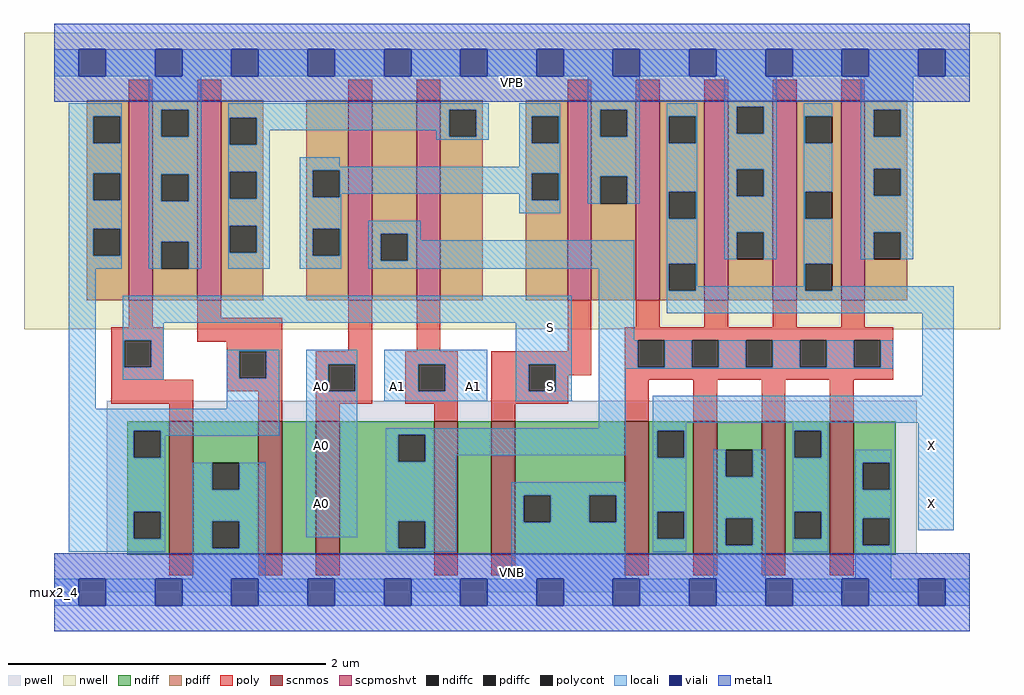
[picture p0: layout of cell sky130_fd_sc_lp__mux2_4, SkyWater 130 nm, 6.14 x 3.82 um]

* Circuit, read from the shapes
.subckt sky130_fd_sc_lp__mux2_4 A0 A1 S VGND VNB VPB VPWR X
XM1 VGND S n1 VNB sky130_fd_pr__nfet_01v8 w=0.84 l=0.15
XM2 n2 n1 VGND VNB sky130_fd_pr__nfet_01v8 w=0.84 l=0.15
XM3 n3 A0 n2 VNB sky130_fd_pr__nfet_01v8 w=0.84 l=0.15
XM4 n4 A1 n3 VNB sky130_fd_pr__nfet_01v8 w=0.84 l=0.15
XM5 VGND S n4 VNB sky130_fd_pr__nfet_01v8 w=0.84 l=0.15
XM6 X n3 VGND VNB sky130_fd_pr__nfet_01v8 w=0.84 l=0.15 m=4
XM7 VPWR S n1 VPB sky130_fd_pr__pfet_01v8_hvt w=1.26 l=0.15
XM8 n5 n1 VPWR VPB sky130_fd_pr__pfet_01v8_hvt w=1.26 l=0.15
XM9 n3 A0 n6 VPB sky130_fd_pr__pfet_01v8_hvt w=1.26 l=0.15
XM10 n5 A1 n3 VPB sky130_fd_pr__pfet_01v8_hvt w=1.26 l=0.15
XM11 VPWR S n6 VPB sky130_fd_pr__pfet_01v8_hvt w=1.26 l=0.15
XM12 X n3 VPWR VPB sky130_fd_pr__pfet_01v8_hvt w=1.26 l=0.15 m=4
.ends

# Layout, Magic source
magic
tech sky130A
magscale 1 2
<< nwell >>
rect -38 331 1190 704
<< pwell >>
rect 66 49 1085 241
rect 0 0 1152 49
<< scnmos >>
rect 145 47 175 215
rect 257 47 287 215
rect 329 47 359 215
rect 478 47 508 215
rect 550 47 580 215
rect 718 47 748 215
rect 804 47 834 215
rect 890 47 920 215
rect 976 47 1006 215
<< scpmoshvt >>
rect 94 367 124 619
rect 180 367 210 619
rect 370 367 400 619
rect 456 367 486 619
rect 646 367 676 619
rect 732 367 762 619
rect 818 367 848 619
rect 904 367 934 619
rect 990 367 1020 619
<< ndiff >>
rect 92 203 145 215
rect 92 169 100 203
rect 134 169 145 203
rect 92 101 145 169
rect 92 67 100 101
rect 134 67 145 101
rect 92 47 145 67
rect 175 163 257 215
rect 175 129 199 163
rect 233 129 257 163
rect 175 89 257 129
rect 175 55 199 89
rect 233 55 257 89
rect 175 47 257 55
rect 287 47 329 215
rect 359 198 478 215
rect 359 164 433 198
rect 467 164 478 198
rect 359 89 478 164
rect 359 55 433 89
rect 467 55 478 89
rect 359 47 478 55
rect 508 47 550 215
rect 580 122 718 215
rect 580 88 591 122
rect 625 88 673 122
rect 707 88 718 122
rect 580 47 718 88
rect 748 203 804 215
rect 748 169 759 203
rect 793 169 804 203
rect 748 101 804 169
rect 748 67 759 101
rect 793 67 804 101
rect 748 47 804 67
rect 834 179 890 215
rect 834 145 845 179
rect 879 145 890 179
rect 834 93 890 145
rect 834 59 845 93
rect 879 59 890 93
rect 834 47 890 59
rect 920 203 976 215
rect 920 169 931 203
rect 965 169 976 203
rect 920 101 976 169
rect 920 67 931 101
rect 965 67 976 101
rect 920 47 976 67
rect 1006 163 1059 215
rect 1006 129 1017 163
rect 1051 129 1059 163
rect 1006 93 1059 129
rect 1006 59 1017 93
rect 1051 59 1059 93
rect 1006 47 1059 59
<< pdiff >>
rect 41 599 94 619
rect 41 565 49 599
rect 83 565 94 599
rect 41 527 94 565
rect 41 493 49 527
rect 83 493 94 527
rect 41 457 94 493
rect 41 423 49 457
rect 83 423 94 457
rect 41 367 94 423
rect 124 607 180 619
rect 124 573 135 607
rect 169 573 180 607
rect 124 526 180 573
rect 124 492 135 526
rect 169 492 180 526
rect 124 441 180 492
rect 124 407 135 441
rect 169 407 180 441
rect 124 367 180 407
rect 210 597 263 619
rect 210 563 221 597
rect 255 563 263 597
rect 210 529 263 563
rect 210 495 221 529
rect 255 495 263 529
rect 210 461 263 495
rect 210 427 221 461
rect 255 427 263 461
rect 210 367 263 427
rect 317 531 370 619
rect 317 497 325 531
rect 359 497 370 531
rect 317 457 370 497
rect 317 423 325 457
rect 359 423 370 457
rect 317 367 370 423
rect 400 451 456 619
rect 400 417 411 451
rect 445 417 456 451
rect 400 367 456 417
rect 486 607 539 619
rect 486 573 497 607
rect 531 573 539 607
rect 486 367 539 573
rect 593 599 646 619
rect 593 565 601 599
rect 635 565 646 599
rect 593 527 646 565
rect 593 493 601 527
rect 635 493 646 527
rect 593 367 646 493
rect 676 607 732 619
rect 676 573 687 607
rect 721 573 732 607
rect 676 523 732 573
rect 676 489 687 523
rect 721 489 732 523
rect 676 367 732 489
rect 762 599 818 619
rect 762 565 773 599
rect 807 565 818 599
rect 762 504 818 565
rect 762 470 773 504
rect 807 470 818 504
rect 762 413 818 470
rect 762 379 773 413
rect 807 379 818 413
rect 762 367 818 379
rect 848 611 904 619
rect 848 577 859 611
rect 893 577 904 611
rect 848 532 904 577
rect 848 498 859 532
rect 893 498 904 532
rect 848 453 904 498
rect 848 419 859 453
rect 893 419 904 453
rect 848 367 904 419
rect 934 599 990 619
rect 934 565 945 599
rect 979 565 990 599
rect 934 504 990 565
rect 934 470 945 504
rect 979 470 990 504
rect 934 413 990 470
rect 934 379 945 413
rect 979 379 990 413
rect 934 367 990 379
rect 1020 607 1073 619
rect 1020 573 1031 607
rect 1065 573 1073 607
rect 1020 533 1073 573
rect 1020 499 1031 533
rect 1065 499 1073 533
rect 1020 453 1073 499
rect 1020 419 1031 453
rect 1065 419 1073 453
rect 1020 367 1073 419
<< ndiffc >>
rect 100 169 134 203
rect 100 67 134 101
rect 199 129 233 163
rect 199 55 233 89
rect 433 164 467 198
rect 433 55 467 89
rect 591 88 625 122
rect 673 88 707 122
rect 759 169 793 203
rect 759 67 793 101
rect 845 145 879 179
rect 845 59 879 93
rect 931 169 965 203
rect 931 67 965 101
rect 1017 129 1051 163
rect 1017 59 1051 93
<< pdiffc >>
rect 49 565 83 599
rect 49 493 83 527
rect 49 423 83 457
rect 135 573 169 607
rect 135 492 169 526
rect 135 407 169 441
rect 221 563 255 597
rect 221 495 255 529
rect 221 427 255 461
rect 325 497 359 531
rect 325 423 359 457
rect 411 417 445 451
rect 497 573 531 607
rect 601 565 635 599
rect 601 493 635 527
rect 687 573 721 607
rect 687 489 721 523
rect 773 565 807 599
rect 773 470 807 504
rect 773 379 807 413
rect 859 577 893 611
rect 859 498 893 532
rect 859 419 893 453
rect 945 565 979 599
rect 945 470 979 504
rect 945 379 979 413
rect 1031 573 1065 607
rect 1031 499 1065 533
rect 1031 419 1065 453
<< poly >>
rect 94 619 124 645
rect 180 619 210 645
rect 370 619 400 645
rect 456 619 486 645
rect 646 619 676 645
rect 732 619 762 645
rect 818 619 848 645
rect 904 619 934 645
rect 990 619 1020 645
rect 94 333 124 367
rect 180 345 210 367
rect 72 317 138 333
rect 72 283 88 317
rect 122 283 138 317
rect 180 315 287 345
rect 72 267 138 283
rect 217 303 287 315
rect 370 303 400 367
rect 456 303 486 367
rect 646 303 676 367
rect 732 333 762 367
rect 818 333 848 367
rect 904 333 934 367
rect 990 333 1020 367
rect 217 269 233 303
rect 267 269 287 303
rect 72 237 175 267
rect 217 253 287 269
rect 145 215 175 237
rect 257 215 287 253
rect 329 287 400 303
rect 329 253 345 287
rect 379 253 400 287
rect 329 237 400 253
rect 442 287 508 303
rect 442 253 458 287
rect 492 253 508 287
rect 442 237 508 253
rect 329 215 359 237
rect 478 215 508 237
rect 550 287 676 303
rect 550 253 597 287
rect 631 273 676 287
rect 718 317 1056 333
rect 718 283 734 317
rect 768 283 802 317
rect 836 283 870 317
rect 904 283 938 317
rect 972 283 1006 317
rect 1040 283 1056 317
rect 631 253 647 273
rect 550 237 647 253
rect 718 267 1056 283
rect 550 215 580 237
rect 718 215 748 267
rect 804 215 834 267
rect 890 215 920 267
rect 976 215 1006 267
rect 145 21 175 47
rect 257 21 287 47
rect 329 21 359 47
rect 478 21 508 47
rect 550 21 580 47
rect 718 21 748 47
rect 804 21 834 47
rect 890 21 920 47
rect 976 21 1006 47
<< polycont >>
rect 88 283 122 317
rect 233 269 267 303
rect 345 253 379 287
rect 458 253 492 287
rect 597 253 631 287
rect 734 283 768 317
rect 802 283 836 317
rect 870 283 904 317
rect 938 283 972 317
rect 1006 283 1040 317
<< locali >>
rect 0 649 31 683
rect 65 649 127 683
rect 161 649 223 683
rect 257 649 319 683
rect 353 649 415 683
rect 449 649 511 683
rect 545 649 607 683
rect 641 649 703 683
rect 737 649 799 683
rect 833 649 895 683
rect 929 649 991 683
rect 1025 649 1087 683
rect 1121 649 1152 683
rect 18 599 85 615
rect 18 565 49 599
rect 83 565 85 599
rect 18 527 85 565
rect 18 493 49 527
rect 83 493 85 527
rect 18 457 85 493
rect 18 423 49 457
rect 83 423 85 457
rect 18 407 85 423
rect 119 607 185 649
rect 119 573 135 607
rect 169 573 185 607
rect 119 526 185 573
rect 119 492 135 526
rect 169 492 185 526
rect 119 441 185 492
rect 119 407 135 441
rect 169 407 185 441
rect 219 607 547 615
rect 219 597 497 607
rect 219 563 221 597
rect 255 581 497 597
rect 255 563 271 581
rect 481 573 497 581
rect 531 573 547 607
rect 481 569 547 573
rect 585 599 637 615
rect 219 529 271 563
rect 585 565 601 599
rect 635 565 637 599
rect 219 495 221 529
rect 255 495 271 529
rect 219 461 271 495
rect 219 427 221 461
rect 255 427 271 461
rect 219 407 271 427
rect 309 535 359 547
rect 585 535 637 565
rect 309 531 637 535
rect 309 497 325 531
rect 359 527 637 531
rect 359 501 601 527
rect 359 497 361 501
rect 309 457 361 497
rect 585 493 601 501
rect 635 493 637 527
rect 585 477 637 493
rect 671 607 737 649
rect 671 573 687 607
rect 721 573 737 607
rect 671 523 737 573
rect 671 489 687 523
rect 721 489 737 523
rect 771 599 809 615
rect 771 565 773 599
rect 807 565 809 599
rect 771 504 809 565
rect 771 470 773 504
rect 807 470 809 504
rect 309 423 325 457
rect 359 423 361 457
rect 309 407 361 423
rect 395 451 461 467
rect 395 417 411 451
rect 445 443 461 451
rect 445 417 730 443
rect 395 407 730 417
rect 18 231 52 407
rect 86 339 651 373
rect 86 317 138 339
rect 86 283 88 317
rect 122 283 138 317
rect 86 267 138 283
rect 217 303 283 305
rect 217 269 233 303
rect 267 269 283 303
rect 217 231 283 269
rect 18 203 283 231
rect 18 169 100 203
rect 134 197 283 203
rect 317 287 381 305
rect 317 253 345 287
rect 379 253 381 287
rect 134 169 140 197
rect 18 101 140 169
rect 18 67 100 101
rect 134 67 140 101
rect 18 51 140 67
rect 174 129 199 163
rect 233 129 266 163
rect 174 89 266 129
rect 174 55 199 89
rect 233 55 266 89
rect 317 69 381 253
rect 415 287 545 305
rect 415 253 458 287
rect 492 253 545 287
rect 415 240 545 253
rect 581 287 651 339
rect 581 253 597 287
rect 631 253 651 287
rect 581 240 651 253
rect 685 317 730 407
rect 771 413 809 470
rect 843 611 909 649
rect 843 577 859 611
rect 893 577 909 611
rect 843 532 909 577
rect 843 498 859 532
rect 893 498 909 532
rect 843 453 909 498
rect 843 419 859 453
rect 893 419 909 453
rect 943 599 979 615
rect 943 565 945 599
rect 943 504 979 565
rect 943 470 945 504
rect 771 379 773 413
rect 807 385 809 413
rect 943 413 979 470
rect 1015 607 1081 649
rect 1015 573 1031 607
rect 1065 573 1081 607
rect 1015 533 1081 573
rect 1015 499 1031 533
rect 1065 499 1081 533
rect 1015 453 1081 499
rect 1015 419 1031 453
rect 1065 419 1081 453
rect 943 385 945 413
rect 807 379 945 385
rect 979 379 1132 385
rect 771 351 1132 379
rect 685 283 734 317
rect 768 283 802 317
rect 836 283 870 317
rect 904 283 938 317
rect 972 283 1006 317
rect 1040 283 1056 317
rect 685 281 1056 283
rect 685 206 719 281
rect 1092 247 1132 351
rect 417 198 719 206
rect 417 164 433 198
rect 467 172 719 198
rect 753 213 1132 247
rect 753 203 795 213
rect 467 164 506 172
rect 417 89 506 164
rect 753 169 759 203
rect 793 169 795 203
rect 929 203 974 213
rect 174 17 266 55
rect 417 55 433 89
rect 467 55 506 89
rect 417 51 506 55
rect 575 122 719 138
rect 575 88 591 122
rect 625 88 673 122
rect 707 88 719 122
rect 575 17 719 88
rect 753 101 795 169
rect 753 67 759 101
rect 793 67 795 101
rect 753 51 795 67
rect 829 145 845 179
rect 879 145 895 179
rect 829 93 895 145
rect 829 59 845 93
rect 879 59 895 93
rect 829 17 895 59
rect 929 169 931 203
rect 965 169 974 203
rect 929 101 974 169
rect 929 67 931 101
rect 965 67 974 101
rect 929 51 974 67
rect 1008 163 1053 179
rect 1008 129 1017 163
rect 1051 129 1053 163
rect 1008 93 1053 129
rect 1008 59 1017 93
rect 1051 59 1053 93
rect 1087 78 1132 213
rect 1008 17 1053 59
rect 0 -17 31 17
rect 65 -17 127 17
rect 161 -17 223 17
rect 257 -17 319 17
rect 353 -17 415 17
rect 449 -17 511 17
rect 545 -17 607 17
rect 641 -17 703 17
rect 737 -17 799 17
rect 833 -17 895 17
rect 929 -17 991 17
rect 1025 -17 1087 17
rect 1121 -17 1152 17
<< viali >>
rect 31 649 65 683
rect 127 649 161 683
rect 223 649 257 683
rect 319 649 353 683
rect 415 649 449 683
rect 511 649 545 683
rect 607 649 641 683
rect 703 649 737 683
rect 799 649 833 683
rect 895 649 929 683
rect 991 649 1025 683
rect 1087 649 1121 683
rect 31 -17 65 17
rect 127 -17 161 17
rect 223 -17 257 17
rect 319 -17 353 17
rect 415 -17 449 17
rect 511 -17 545 17
rect 607 -17 641 17
rect 703 -17 737 17
rect 799 -17 833 17
rect 895 -17 929 17
rect 991 -17 1025 17
rect 1087 -17 1121 17
<< metal1 >>
rect 0 683 1152 715
rect 0 649 31 683
rect 65 649 127 683
rect 161 649 223 683
rect 257 649 319 683
rect 353 649 415 683
rect 449 649 511 683
rect 545 649 607 683
rect 641 649 703 683
rect 737 649 799 683
rect 833 649 895 683
rect 929 649 991 683
rect 1025 649 1087 683
rect 1121 649 1152 683
rect 0 617 1152 649
rect 0 17 1152 49
rect 0 -17 31 17
rect 65 -17 127 17
rect 161 -17 223 17
rect 257 -17 319 17
rect 353 -17 415 17
rect 449 -17 511 17
rect 545 -17 607 17
rect 641 -17 703 17
rect 737 -17 799 17
rect 833 -17 895 17
rect 929 -17 991 17
rect 1025 -17 1087 17
rect 1121 -17 1152 17
rect 0 -49 1152 -17
<< labels >>
flabel pwell s 0 0 1152 49 0 FreeSans 200 0 0 0 VNB
port 5 nsew ground bidirectional
flabel nwell s 0 617 1152 666 0 FreeSans 200 0 0 0 VPB
port 6 nsew power bidirectional
rlabel comment s 0 0 0 0 4 mux2_4
flabel metal1 s 0 617 1152 666 0 FreeSans 340 0 0 0 VPWR
port 7 nsew power bidirectional
flabel metal1 s 0 0 1152 49 0 FreeSans 340 0 0 0 VGND
port 4 nsew ground bidirectional
flabel locali s 607 242 641 276 0 FreeSans 340 0 0 0 S
port 3 nsew signal input
flabel locali s 607 316 641 350 0 FreeSans 340 0 0 0 S
port 3 nsew signal input
flabel locali s 319 94 353 128 0 FreeSans 340 0 0 0 A0
port 1 nsew signal input
flabel locali s 319 168 353 202 0 FreeSans 340 0 0 0 A0
port 1 nsew signal input
flabel locali s 319 242 353 276 0 FreeSans 340 0 0 0 A0
port 1 nsew signal input
flabel locali s 415 242 449 276 0 FreeSans 340 0 0 0 A1
port 2 nsew signal input
flabel locali s 511 242 545 276 0 FreeSans 340 0 0 0 A1
port 2 nsew signal input
flabel locali s 1087 94 1121 128 0 FreeSans 340 0 0 0 X
port 8 nsew signal output
flabel locali s 1087 168 1121 202 0 FreeSans 340 0 0 0 X
port 8 nsew signal output
<< properties >>
string LEFsite unit
string LEFclass CORE
string FIXED_BBOX 0 0 1152 666
string GDS_FILE $PDKPATH/libs.ref/sky130_fd_sc_lp/gds/sky130_fd_sc_lp.gds
string LEFsymmetry X Y R90
string GDS_END 1718698
string GDS_START 1708816
<< end >>
